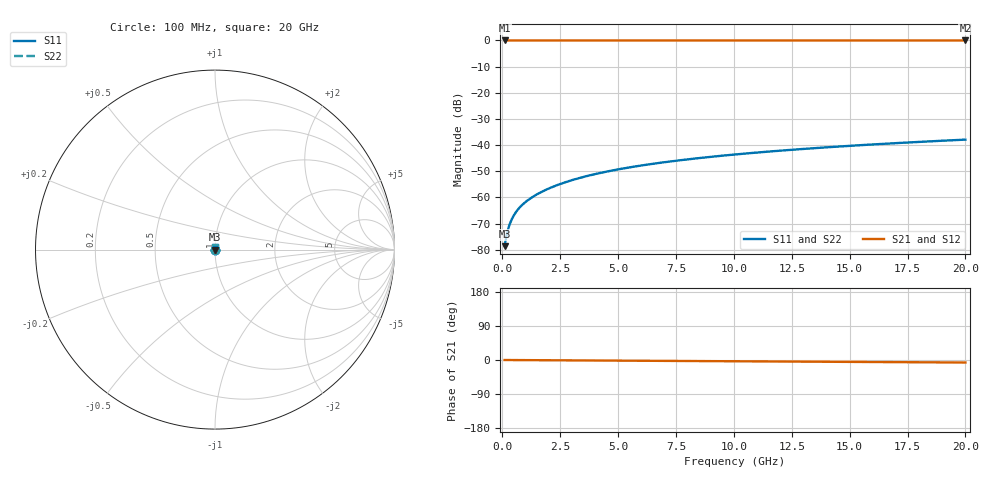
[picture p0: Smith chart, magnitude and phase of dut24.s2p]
! Touchstone file exported from HFSS 2026.1.0
!  File:  C:/ffzhzh/LocalFiles/Ansys_Project_Files/temp_train_TSV_24_1782958209_45568.aedt
!  Generated:  10:11:48 AM Jul  2, 2026
!  Design:  TSV
!  Project:  temp_train_TSV_24_1782958209_45568
! Variables:
!  h_bsmrdl = 2um
!  h_ox = 20um
!  h_rdl = 5um
!  h_sub = 60.27um
!  h_tmrdl = 5um
!  h_tsv = 60.27um
!  h_via = 3um
!  l_bsmrdl = 300um
!  l_sub = 426.44um
!  l_tmrdl = 200um
!  m_sub = 200um
!  pitch = 58.52um
!  r_tsv = 13.22um
!  s_tmrdl = 10um
!  w_bsmrdl = 18um
!  w_sub = 500um
!  w_tmrdl = 12um
!  x_tsv_center1 = 206um
!  x_tsv_center2 = 524um
!  x_tsv_center3 = 736um
!  x_tsv_center4 = 1054um
!  x_tsv_center5 = 1266um
!  x_tsv_center6 = 1584um
# GHz S MA R 50.000000
! Terminal data exported
! Port[1] = TSV1_1_T1
! Port[2] = TSV1_1_T2
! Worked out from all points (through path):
!   200 points, 100 MHz to 20 GHz, reference 50 ohm
!   highest |S21| = 0.00 dB at 100 MHz (marker M1); lowest = 0.0 dB at 20 GHz (marker M2)
!   lowest |S11| = -78.6 dB at 100 MHz (marker M3), VSWR 1.00, Z = 50 + j0.00948 ohm
!   |S11| at or under -10 dB: start of sweep to end of sweep
!   |S22| runs from -78.6 to -37.9 dB; largest |S21 - S12| = 2.3e-15
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0.1  0.000117 54.1  0.9999 -0.0  0.9999 -0.0  0.000117 54.1
! Gamma 0 0 0 0
! Port Impedance 50 0 50 0
0.2  0.0002029 67.3  0.9999 -0.1  0.9999 -0.1  0.0002029 67.3
0.3  0.0002905 71.4  0.9999 -0.1  0.9999 -0.1  0.0002905 71.4
0.4  0.0003751 73.1  0.9999 -0.1  0.9999 -0.1  0.0003751 73.1
0.5  0.0004557 73.8  0.9999 -0.2  0.9999 -0.2  0.0004557 73.8
0.6  0.0005326 74.2  0.9999 -0.2  0.9999 -0.2  0.0005326 74.2
0.7  0.0006062 74.6  0.9998 -0.2  0.9998 -0.2  0.0006062 74.6
0.9  0.0007467 75.3  0.9998 -0.3  0.9998 -0.3  0.0007467 75.3
1.1  0.000882 76.0  0.9998 -0.4  0.9998 -0.4  0.000882 76.0
1.3  0.001015 76.7  0.9998 -0.4  0.9998 -0.4  0.001015 76.7
1.6  0.001212 77.7  0.9998 -0.5  0.9998 -0.5  0.001212 77.7
1.9  0.00141 78.6  0.9997 -0.6  0.9997 -0.6  0.00141 78.6
2.6  0.00187 79.9  0.9997 -0.9  0.9997 -0.9  0.00187 79.9
3.5  0.002461 80.8  0.9997 -1.2  0.9997 -1.2  0.002461 80.8
4.2  0.002916 81.2  0.9996 -1.4  0.9996 -1.4  0.002916 81.2
5  0.003433 81.5  0.9996 -1.7  0.9996 -1.7  0.003433 81.5
6.8  0.00458 81.7  0.9995 -2.3  0.9995 -2.3  0.00458 81.7
8.3  0.005524 81.7  0.9995 -2.8  0.9995 -2.8  0.005524 81.7
10.1  0.006649 81.6  0.9994 -3.4  0.9994 -3.4  0.006649 81.6
13.4  0.008696 81.1  0.9993 -4.5  0.9993 -4.5  0.008696 81.1
16.7  0.01072 80.4  0.9992 -5.6  0.9992 -5.6  0.01072 80.4
20  0.01272 79.6  0.9991 -6.6  0.9991 -6.6  0.01272 79.6
